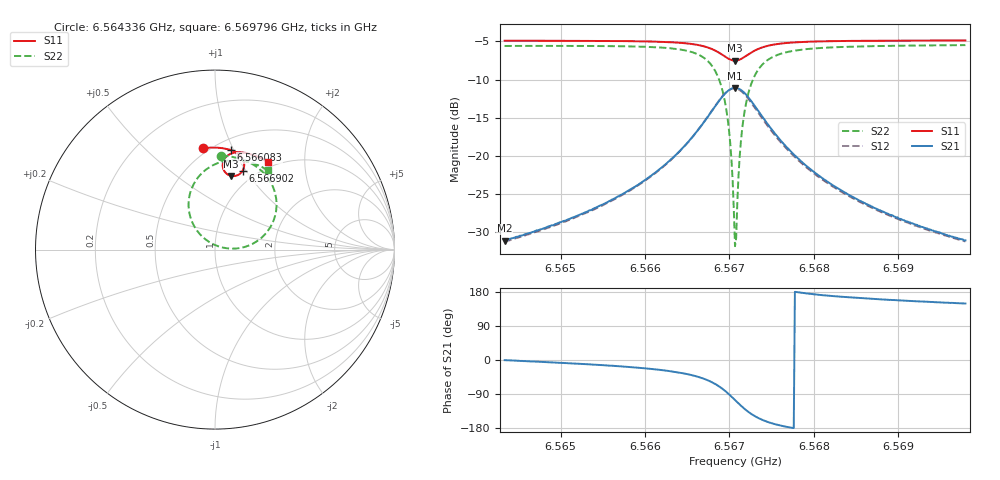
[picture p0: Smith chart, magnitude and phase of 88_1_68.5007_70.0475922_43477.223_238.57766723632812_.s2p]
#  HZ  S  RI  R  50.00
! Rohde & Schwarz Vector Network Analyzer
! Rohde-Schwarz,ZNB20-2Port,1311601062101988,3.16
! Created: UTC 3/20/2024, 5:07:40 PM
! freq[Hz]  re:S11  im:S11  re:S21  im:S21  re:S12  im:S12  re:S22  im:S22
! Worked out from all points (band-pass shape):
!   401 points, 6.564336 GHz to 6.569796 GHz, reference 50 ohm
!   highest |S21| = -11.09 dB at 6.567066 GHz (marker M1); lowest = -31.1 dB at 6.564336 GHz (marker M2)
!   |S21| within 3 dB of the highest: 6.566794 GHz to 6.56734 GHz (546.5 kHz wide, 0.00832 % of centre)
!   lowest |S11| = -7.5 dB at 6.567066 GHz (marker M3), VSWR 2.45, Z = 41.3 + j41.2 ohm
!   |S11| at or under -10 dB: nowhere
!   |S22| runs from -31.9 to -5.5 dB; largest |S21 - S12| = 0.013
!   S11 on the Smith chart (normalised r, x): 6.564336 GHz: 0.47, +0.78; 6.566083 GHz: 0.60, +0.97; 6.566902 GHz: 0.86, +0.97; 6.569796 GHz: 0.92, +1.33
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6.5643361e9  -0.0645 0.5654  0.0278 -0.000208  0.0274 -0.000676  0.0351 0.5241
6.5652506e9  0.0105 0.5679  0.041 -0.00754  0.0402 -0.00809  0.1214 0.5112
6.5660832e9  0.0877 0.5548  0.0684 -0.0303  0.0673 -0.0311  0.2286 0.4634
6.5661651e9  0.0964 0.5516  0.073 -0.0352  0.0719 -0.0361  0.2424 0.4532
6.5664654e9  0.1308 0.5324  0.0938 -0.0673  0.0924 -0.0687  0.3011 0.3897
6.5666701e9  0.1547 0.5041  0.1074 -0.1165  0.105 -0.1187  0.3391 0.2948
6.5668066e9  0.1627 0.4703  0.1003 -0.1756  0.0959 -0.1788  0.3332 0.1824
6.5669022e9  0.1539 0.4391  0.0679 -0.2292  0.0605 -0.2322  0.2754 0.0817
6.5669841e9  0.1284 0.4155  0.00772 -0.2669  -0.00304 -0.2671  0.1652 0.0146
6.5670114e9  0.1164 0.4112  -0.0186 -0.2728  -0.0301 -0.2712  0.1174 0.00592
6.5670523e9  0.0964 0.4098  -0.0611 -0.2718  -0.0726 -0.2672  0.042 0.0116
6.567066e9  0.0898 0.4108  -0.0752 -0.2686  -0.0865 -0.263  0.0174 0.0187
6.5670796e9  0.0832 0.4125  -0.0886 -0.2642  -0.0996 -0.2575  -0.00602 0.0282
6.5670933e9  0.077 0.4151  -0.1019 -0.2584  -0.1124 -0.2507  -0.0284 0.04
6.5671342e9  0.0606 0.4264  -0.1361 -0.2343  -0.1443 -0.2245  -0.0848 0.0868
6.5671615e9  0.0527 0.4362  -0.1535 -0.2144  -0.1599 -0.2037  -0.1123 0.1238
6.5672161e9  0.0438 0.4578  -0.1748 -0.1715  -0.1779 -0.1606  -0.1424 0.2015
6.5672844e9  0.0438 0.483  -0.1809 -0.1223  -0.1808 -0.1127  -0.1443 0.2879
6.5675301e9  0.0811 0.5308  -0.1392 -0.0278  -0.1362 -0.0235  -0.0486 0.4468
6.5679805e9  0.1441 0.5423  -0.0796 0.00859  -0.0777 0.00971  0.0869 0.4973
6.568895e9  0.2288 0.5211  -0.0383 0.0151  -0.0376 0.0153  0.217 0.4792
6.5697959e9  0.2952 0.4886  -0.0239 0.0143  -0.0233 0.0144  0.2954 0.4425
